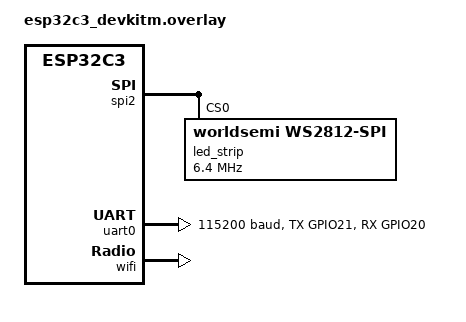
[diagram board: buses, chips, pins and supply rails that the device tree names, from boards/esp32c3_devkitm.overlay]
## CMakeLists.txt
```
# SPDX-License-Identifier: Apache-2.0

cmake_minimum_required(VERSION 3.20.0)
find_package(Zephyr REQUIRED HINTS $ENV{ZEPHYR_BASE})
project(esp32_led_strip)

# Include header files
target_include_directories(app PRIVATE
      ${CMAKE_CURRENT_SOURCE_DIR}/src
      ${CMAKE_CURRENT_SOURCE_DIR}/src/log
      ${CMAKE_CURRENT_SOURCE_DIR}/src/console
      ${CMAKE_CURRENT_SOURCE_DIR}/src/drivers
  )

set(APP_SOURCES 
    src/main.c
    src/drivers/led_color.c
    src/console/cli.c
)

target_sources(app PRIVATE ${APP_SOURCES})
```

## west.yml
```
manifest:
  version: "0.12"

  remotes:
    - name: zephyrproject
      url-base: https://github.com/zephyrproject-rtos

  projects:
    - name: zephyr
      remote: zephyrproject
      revision: v4.3.0

  self:
    path: app
```

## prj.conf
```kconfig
# Core subsystems
CONFIG_GPIO=y
CONFIG_SERIAL=y
CONFIG_CONSOLE=y
CONFIG_UART_CONSOLE=y

# Shell over UART
CONFIG_SHELL=y
CONFIG_SHELL_BACKEND_SERIAL=y
CONFIG_NET_SHELL=y
CONFIG_NET_L2_WIFI_SHELL=y

# Wi‑Fi framework + mgmt (if available in your tree)
CONFIG_WIFI=y
CONFIG_INIT_STACKS=y
CONFIG_NET_L2_WIFI_MGMT=y

# Networking
CONFIG_NETWORKING=y
CONFIG_NET_IPV4=y
CONFIG_NET_DHCPV4=y
CONFIG_NET_TCP=y
CONFIG_NET_UDP=y
CONFIG_DNS_RESOLVER=y

CONFIG_NET_SOCKETS=y
CONFIG_HTTP_CLIENT=y

# ESP32 Wi‑Fi driver (pick the one your tree provides)
CONFIG_WIFI_ESP32=y   # if undefined in your tree, find the right symbol via menuconfig

# LED strip
CONFIG_LED_STRIP=y

# Logging
CONFIG_LOG=y
CONFIG_LOG_DEFAULT_LEVEL=3
```

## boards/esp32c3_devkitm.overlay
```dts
/*
 * Copyright (c) 2022 Espressif Systems (Shanghai) Co., Ltd.
 *
 * SPDX-License-Identifier: Apache-2.0
 */

#include <zephyr/dt-bindings/led/led.h>

&spi2 {
	/* Workaround to support WS2812 driver */
	line-idle-low;

	led_strip: ws2812@0 {
		compatible = "worldsemi,ws2812-spi";

		/* SPI */
		reg = <0>; /* ignored, but necessary for SPI bindings */
		spi-max-frequency = <6400000>;

		/* WS2812 */
		chain-length = <1>; /* arbitrary; change at will */
		spi-cpha;
		spi-one-frame = <0xf0>; /* 11110000: 625 ns high and 625 ns low */
		spi-zero-frame = <0xc0>; /* 11000000: 312.5 ns high and 937.5 ns low */
		color-mapping = <LED_COLOR_ID_GREEN
				 LED_COLOR_ID_RED
				 LED_COLOR_ID_BLUE>;
	};
};

&pinctrl {
	spim2_default: spim2_default {
		group2 {
			pinmux = <SPIM2_MOSI_GPIO8>;
		};
	};

    uart0_default: uart0_default {
        group1 {
            pinmux = <UART0_TX_GPIO21>,
                     <UART0_RX_GPIO20>;
        };
    };
};

/ {
	aliases {
		led-strip = &led_strip;
	};
};

&uart0 {
    status = "okay";
    current-speed = <115200>;
    pinctrl-0 = <&uart0_default>;
    pinctrl-names = "default";
};

&wifi {
	status = "okay";
};
```

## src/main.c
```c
#include <zephyr/kernel.h>
//#include "threads_config.h"
#include "drivers/led_color.h"
#include "log/logger.h"
LOG_MODULE_REGISTER(main);

int main(void)
{
    LOG_INF("ESP32 demo started");

    while (1)
    {
        // Blink is device alive indicator
        if (led_color_is_blink_allowed() == false)
        {
            k_sleep(K_SECONDS(5));
            led_color_allow_blink();
        }
        else
        {
            led_color_blink_indicator(LED_BLINK_ON);
            k_sleep(K_MSEC(500));
            led_color_blink_indicator(LED_BLINK_OFF);
            k_sleep(K_MSEC(500));
        }
    }

    return 0;
}
```

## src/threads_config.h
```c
#ifndef H_THREADS_CONFIG_H_
#define H_THREADS_CONFIG_H_

#include <zephyr/kernel.h>
#include "uart_console_thread.h"


/* --- Threads configuration --- */
#define UART_STACK_SIZE   1024
#define UART_PRIORITY     5

#define LED_STACK_SIZE    512
#define LED_PRIORITY      10


/* --- Threads definitions --- */
K_THREAD_DEFINE(uart_console_thread_id, UART_STACK_SIZE,
                uart_console_thread_fn, NULL, NULL, NULL,
                UART_PRIORITY, 0, 0);


#endif /* H_THREADS_CONFIG_H_ */
```
